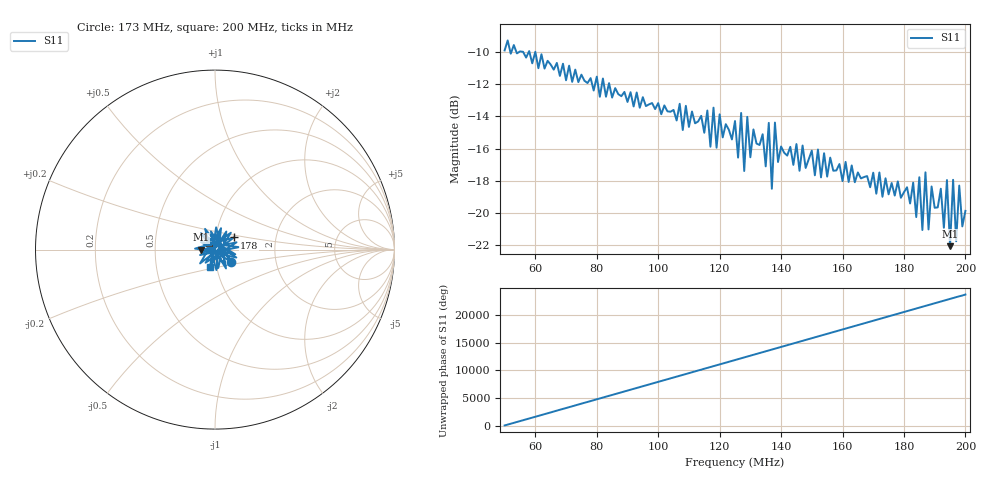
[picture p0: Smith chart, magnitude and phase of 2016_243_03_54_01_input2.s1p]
!Agilent N9923A: A.07.32
!Date: Tuesday, 30 August 2016 11:27:37
!Model: N9923A
!Serial: MY52412305
!GPS Latitude:
!GPS Longitude:
!GPS TimeStamp: 0001-01-01 00:00:00Z
!GPS Seconds Since Last Read: 0
!CHECKSUM:1215034060
!Correction: S11(Rdy)
!S1P File: Measurement: S11:
# Hz S DB R 50
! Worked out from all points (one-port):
!   151 points, 50 MHz to 200 MHz, reference 50 ohm
!   lowest |S11| = -22.1 dB at 195 MHz (marker M1), VSWR 1.17, Z = 42.7 - j0.11 ohm
!   |S11| at or under -10 dB: 51.88 MHz to 52.19 MHz (310.6 kHz wide, 0.597 % of centre); 53.84 MHz to 54.68 MHz (843.5 kHz wide, 1.55 % of centre); 60.02 MHz to end of sweep (the widest 3 of 5)
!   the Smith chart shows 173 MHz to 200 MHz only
!   S11 on the Smith chart (normalised r, x): 173 MHz: 1.19, -0.16; 178 MHz: 1.22, +0.17; 200 MHz: 0.93, -0.18
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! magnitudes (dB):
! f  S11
! 50 MHz  -9.9
! 69 MHz  -10.7
! 88 MHz  -12.7
! 107 MHz  -13.2
! 125 MHz  -14.3
! 128 MHz  -17.4
! 129 MHz  -14.0
! 135 MHz  -17.1
! 136 MHz  -14.4
! 137 MHz  -18.5
! 138 MHz  -14.4
! 144 MHz  -17.0
! 163 MHz  -17.0
! 173 MHz  -19.0
! 178 MHz  -18.0
! 182 MHz  -19.4
! 185 MHz  -17.8
! 186 MHz  -21.1
! 187 MHz  -17.5
! 188 MHz  -21.0
! 189 MHz  -18.4
! 193 MHz  -20.9
! 194 MHz  -17.9
! 195 MHz  -22.1
! 196 MHz  -17.9
! 197 MHz  -21.8
! 198 MHz  -18.3
! 200 MHz  -19.9
